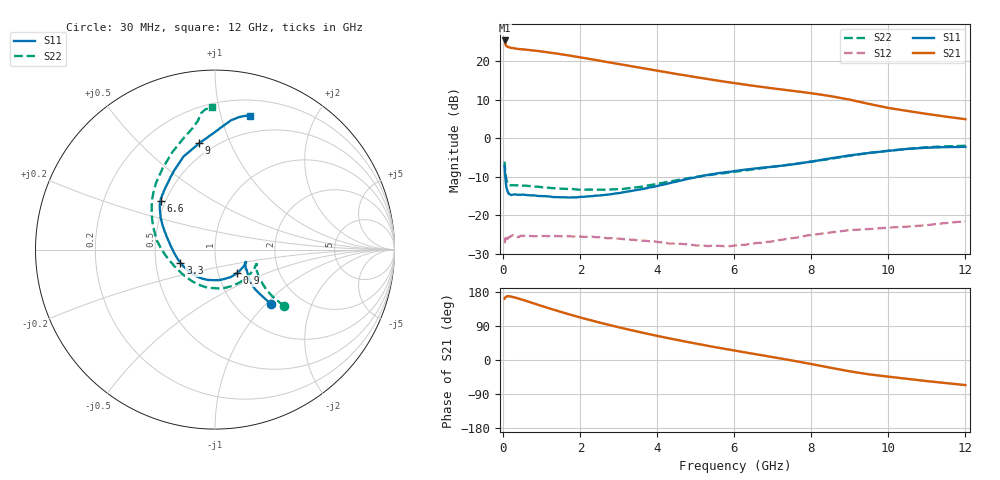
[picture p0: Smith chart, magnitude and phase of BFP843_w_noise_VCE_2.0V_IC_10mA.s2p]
! Infineon Technologies  Discrete & RF Semiconductors
! BFP843
! VCE =  2.0 V,  IC =  10 mA
! Common Emitter S-Parameters:  Aug 2013
# GHz  S  MA  R  50
!  f  S11  S21  S12  S22
! GHz  MAG  ANG  MAG  ANG  MAG  ANG  MAG  ANG
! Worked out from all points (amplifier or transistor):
!   103 points, 30 MHz to 12 GHz, reference 50 ohm
!   highest |S21| = 25.3 dB at 30 MHz (marker M1)
!   |S21| within 3 dB of that: start of sweep to 1.098 GHz
!   unconditionally stable (mu >= 1): 133.5 MHz to 10.86 GHz
!   at 400 MHz: K = 1.02, MAG = 23.4 dB, |S12| = -25.6 dB
!   at 3.7 GHz: K = 1.34, MAG = 18.8 dB, |S12| = -26.6 dB
!   at 12 GHz: K = 0.83, MSG = 13.2 dB, |S12| = -21.5 dB
!   lowest NFmin = 0.92 dB at 450 MHz
!   S11 on the Smith chart (normalised r, x): 30 MHz: 1.43, -1.07; 900 MHz: 1.23, -0.33; 3.3 GHz: 0.67, -0.10; 6.6 GHz: 0.47, +0.31; 9 GHz: 0.42, +0.77; 12 GHz: 0.34, +1.24
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0.03  0.4353 -44.2  18.4 162.0  0.0435 29.6  0.4965 -39.3
0.04  0.353 -44.7  17.18 163.2  0.0462 24.1  0.4132 -39.2
0.05  0.3099 -44.6  16.55 165.6  0.0505 18.4  0.3658 -38.1
0.07  0.2436 -39.6  15.7 167.1  0.0514 12.9  0.303 -33.7
0.13  0.193 -28.4  15.14 168.5  0.0518 8.9  0.2518 -23.3
0.3  0.1869 -21.7  14.46 164.8  0.0541 3.6  0.244 -19.8
0.6  0.1834 -33.0  13.95 155.6  0.0539 -0.4  0.2416 -29.7
0.9  0.1781 -46.9  13.43 145.6  0.0538 -1.3  0.235 -42.2
1.4  0.172 -72.6  12.43 129.8  0.0539 -4.4  0.2239 -64.3
1.7  0.1702 -88.2  11.77 120.7  0.0536 -5.8  0.2195 -77.8
2.1  0.1742 -108.4  10.88 109.3  0.0527 -8.6  0.2149 -95.4
2.7  0.1856 -135.2  9.65 93.7  0.0505 -10.8  0.2148 -119.6
3.3  0.206 -159.1  8.576 79.2  0.0485 -12.8  0.2261 -142.6
4.1  0.247 175.5  7.319 61.4  0.0447 -13.3  0.2613 -167.3
5  0.3121 157.1  6.161 43.3  0.0407 -9.8  0.3143 174.7
6.1  0.3804 143.9  5.079 23.2  0.0407 -0.6  0.372 158.4
6.6  0.407 138.1  4.689 14.4  0.044 3.3  0.4014 151.5
7.7  0.4725 121.8  3.991 -5.1  0.0523 5.9  0.4744 135.9
8.5  0.5473 108.7  3.497 -20.5  0.0601 3.4  0.5399 122.6
9  0.5986 98.5  3.148 -30.0  0.0644 0.3  0.5923 113.7
10.5  0.7263 82.9  2.247 -49.8  0.0715 -5.9  0.7248 97.5
12  0.7703 75.4  1.759 -66.2  0.0839 -12.7  0.7964 91.2
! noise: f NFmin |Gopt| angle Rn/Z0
0.45  0.92  0.06  5  0.02
0.9  0.93  0.06  16  0.04
1.5  0.95  0.06  26  0.1
1.9  0.97  0.06  34  0.18
2.4  1  0.04  44  0.24
3.5  1.06  0.02  59  0.27
5.5  1.19  0.17  -124  0.32
10  1.82  0.5  -67  0.43
